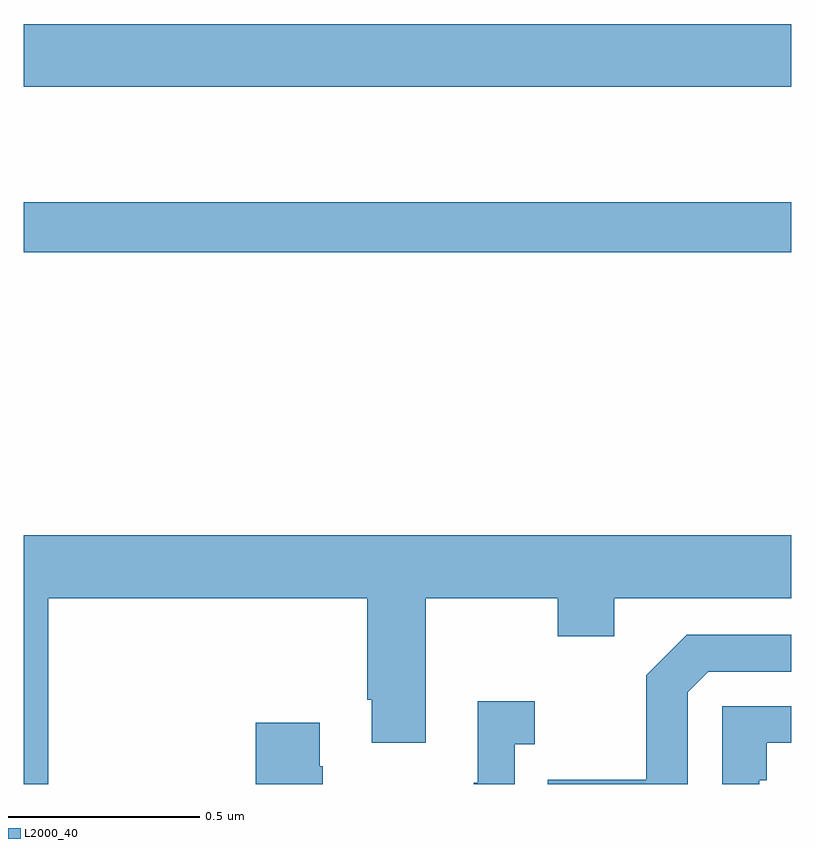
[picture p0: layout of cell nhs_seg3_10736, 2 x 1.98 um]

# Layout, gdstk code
import gdstk
lib = gdstk.Library(unit=1e-6, precision=1e-09)
def R(c, l, rs):  # rectangles x0, y0, x1, y1
    for r in rs: c.add(gdstk.rectangle(r[:2], r[2:], *l))
def P(c, l, *ps):  # polygons
    for p in ps: c.add(gdstk.Polygon(p, *l))
L2000_40 = (2000, 40)

nhs_seg3_10736 = lib.new_cell('nhs_seg3_10736')
R(nhs_seg3_10736, L2000_40, [(244,733.786,246,733.915), (244,734.216,246,734.38)])
P(nhs_seg3_10736, L2000_40, [(244.064,732.884),(244.895,732.884),(244.895,732.619),(244.907,732.619),(244.907,732.507),(245.047,732.507),(245.047,732.884),(245.392,732.884),(245.392,732.785),(245.539,732.785),(245.539,732.884),(246,732.884),(246,733.048),(244,733.048),(244,732.4),(244.064,732.4)],
  [(245.73,732.639),(245.784,732.693),(246,732.693),(246,732.789),(245.727,732.789),(245.622,732.683),(245.622,732.411),(245.365,732.411),(245.365,732.4),(245.73,732.4)],
  [(245.28,732.503),(245.332,732.503),(245.332,732.616),(245.183,732.616),(245.183,732.403),(245.172,732.403),(245.172,732.4),(245.28,732.4)],
  [(245.916,732.41),(245.936,732.41),(245.936,732.507),(246,732.507),(246,732.603),(245.82,732.603),(245.82,732.4),(245.916,732.4)],
  [(244.779,732.446),(244.771,732.446),(244.771,732.559),(244.604,732.559),(244.604,732.4),(244.779,732.4)])

lib.write_gds('nhs_seg3_10736.gds')
